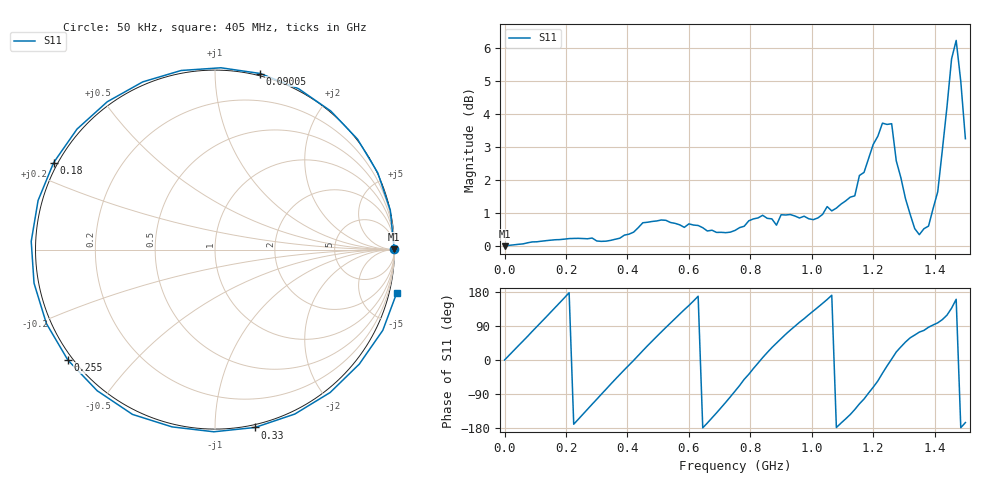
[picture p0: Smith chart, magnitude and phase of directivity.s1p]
! Created with skrf 1.8.0 (http://scikit-rf.org).
# Hz S RI R 50.0
!freq ReS11 ImS11
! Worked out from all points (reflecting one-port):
!   101 points, 50 kHz to 1.5 GHz, reference 50 ohm
!   lowest |S11| = 0.0 dB at 50 kHz (marker M1)
!   phase of S11 starts at 0 deg and turns +1275 deg over the sweep
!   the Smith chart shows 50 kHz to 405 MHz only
!   S11 on the Smith chart (normalised r, x): 50 kHz: open; 90.05 MHz: -0.02, +1.29; 180 MHz: -0.01, +0.25; 255 MHz: -0.01, -0.33; 330 MHz: -0.02, -1.25; 405 MHz: -1.43, -8.25
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50000  0.9981 0.000827
9.0047e7  0.2523 0.9811
1.80044e8  -0.8989 0.485
1.950435e8  -0.9857 0.2736
2.550415e8  -0.8198 -0.6154
3.30039e8  0.2228 -0.991
3.750375e8  0.804 -0.6378
4.050365e8  1.012 -0.2419
4.50035e8  0.9842 0.4528
4.950335e8  0.5145 0.9612
5.70031e8  -0.5553 0.9211
6.60028e8  -1.023 -0.2495
7.50025e8  0.142 -1.045
7.950235e8  0.8637 -0.6664
8.40022e8  1.105 0.1204
9.0002e8  0.6185 0.9267
9.450185e8  0.0187 1.109
1.050015e9  -1.075 0.3977
1.125012e9  -0.9592 -0.6956
1.20001e9  0.447 -1.354
1.245008e9  1.472 -0.4131
1.275008e9  1.254 0.4877
1.320006e9  0.5851 0.9512
1.410003e9  -0.1688 1.196
1.440002e9  -0.7714 1.43
1.455002e9  -1.401 1.318
1.470001e9  -1.93 0.6951
1.5e9  -1.406 -0.3721
